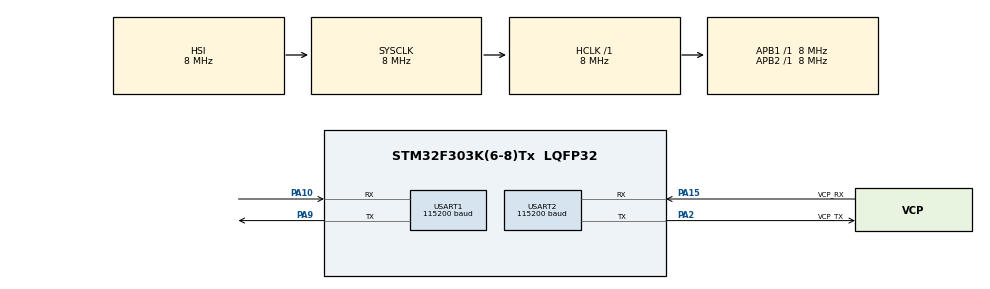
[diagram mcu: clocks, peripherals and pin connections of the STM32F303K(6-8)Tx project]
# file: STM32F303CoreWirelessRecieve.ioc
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Mcu.Family=STM32F3
RCC.CortexFreq_Value=8000000
PA10.Mode=Asynchronous
PF0\ /\ OSC_IN.Mode=HSE-External-Clock-Source
USART1.BaudRate=115200
PA14.GPIO_Label=SWCLK
USART2.BaudRate=115200
ProjectManager.StackSize=0x400
USART1.VirtualMode-Asynchronous=VM_ASYNC
PA13.Signal=SYS_JTMS-SWDIO
PA15.GPIO_Label=VCP_RX
PA9.Mode=Asynchronous
ProjectManager.TargetToolchain=STM32CubeIDE
PA9.Signal=USART1_TX
RCC.AHBFreq_Value=8000000
RCC.HSE_VALUE=8000000
board=NUCLEO-F303K8
USART2.VirtualMode-Asynchronous=VM_ASYNC
PA15.Mode=Asynchronous
RCC.APB2Freq_Value=8000000
PF0\ /\ OSC_IN.Signal=RCC_OSC_IN
USART1.Mode=MODE_TX_RX
PA14.Mode=Serial_Wire
PF0\ /\ OSC_IN.GPIO_Label=MCO
PA13.Mode=Serial_Wire
Mcu.Name=STM32F303K(6-8)Tx
PA13.GPIO_Label=SWDIO
PA2.Signal=USART2_TX
RCC.SYSCLKFreq_VALUE=8000000
Mcu.Package=LQFP32
PA2.GPIO_Label=VCP_TX
PA10.Signal=USART1_RX
PA14.Signal=SYS_JTCK-SWCLK
PA15.Signal=USART2_RX
ProjectManager.HeapSize=0x200
RCC.HSI_VALUE=8000000
NVIC.PriorityGroup=NVIC_PRIORITYGROUP_4
PA2.Mode=Asynchronous
NVIC.USART1_IRQn=true\:0\:0\:false\:false\:true\:true\:true
RCC.APB1Freq_Value=8000000

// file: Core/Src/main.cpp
/* USER CODE BEGIN Header */
/**
  ******************************************************************************
  * @file           : main.c
  * @brief          : Main program body
  ******************************************************************************
  * @attention
  *
  * <h2><center>&copy; Copyright (c) 2024 STMicroelectronics.
  * All rights reserved.</center></h2>
  *
  * This software component is licensed by ST under BSD 3-Clause license,
  * the "License"; You may not use this file except in compliance with the
  * License. You may obtain a copy of the License at:
  *                        opensource.org/licenses/BSD-3-Clause
  *
  ******************************************************************************
  */
/* USER CODE END Header */
#include "main.h"

/* USER CODE BEGIN Includes */
#include "usart.hpp"
#include "core_wireless_control_rx.hpp"
#include "xprintf.h"
/* USER CODE END Includes */

UART_HandleTypeDef huart1;
UART_HandleTypeDef huart2;

void SystemClock_Config(void);
static void MX_GPIO_Init(void);
static void MX_USART2_UART_Init(void);
static void MX_USART1_UART_Init(void);

/* USER CODE BEGIN 0 */
uint8_t rxed_byte_data;
UsartBuffer ub;

void uart_putc(uint8_t c){
	char buf[1];
	buf[0] = c;
    HAL_UART_Transmit(&huart2, (uint8_t *)buf, sizeof(buf), 0xFFFF);
}
/* USER CODE END 0 */

int main(void)
{

  /* MCU Configuration--------------------------------------------------------*/

  /* Reset of all peripherals, Initializes the Flash interface and the Systick. */
  HAL_Init();

  /* Configure the system clock */
  SystemClock_Config();

  /* Initialize all configured peripherals */
  MX_GPIO_Init();
  MX_USART2_UART_Init();
  MX_USART1_UART_Init();

  /* Infinite loop */
  /* USER CODE BEGIN WHILE */
  xdev_out(uart_putc);
  CoreWirelessControlRx cwcr(&ub);
  HAL_UART_Receive_IT(&huart1, &rxed_byte_data, 1);
  uint32_t  last_processed_time = HAL_GetTick();
  while (1)
  {
	  if(cwcr.parse() == true){
		  const uint8_t tx_fail[] = "!--\r\n";
		  HAL_UART_Transmit(&huart2, tx_fail, sizeof(tx_fail), 10);
		  xprintf("%d, %d, %d, %d, %d\r\n", cwcr.axis(0), cwcr.axis(1), cwcr.axis(2), cwcr.axis(3), cwcr.axis(4));
		  xprintf("%d, %d, %d, %d\r\n", cwcr.button(0), cwcr.button(1), cwcr.button(2), cwcr.button(3));
		  xprintf("%d, %d, %d, %d\r\n", cwcr.button(4), cwcr.button(5), cwcr.button(6), cwcr.button(7));
		  xprintf("%d, %d, %d, %d\r\n", cwcr.button(8), cwcr.button(9), cwcr.button(10), cwcr.button(11));
		  xprintf("%d, %d, %d, %d\r\n", cwcr.button(12), cwcr.button(13), cwcr.button(14), cwcr.button(15));
	  }

	  if(HAL_GetTick() - last_processed_time > 500){
//		  const uint8_t tx_data[] = "00,0401,CD:01,90,7F,91,89,00,00,00\r\n";
//		  HAL_UART_Transmit(&huart1, tx_data, sizeof(tx_data), 10);
		  last_processed_time = HAL_GetTick();
	  }
    /* USER CODE END WHILE */

  }
}

void SystemClock_Config(void)
{
  RCC_OscInitTypeDef RCC_OscInitStruct = {0};
  RCC_ClkInitTypeDef RCC_ClkInitStruct = {0};
  RCC_PeriphCLKInitTypeDef PeriphClkInit = {0};

  /** Initializes the RCC Oscillators according to the specified parameters
  * in the RCC_OscInitTypeDef structure.
  */
  RCC_OscInitStruct.OscillatorType = RCC_OSCILLATORTYPE_HSI;
  RCC_OscInitStruct.HSIState = RCC_HSI_ON;
  RCC_OscInitStruct.HSICalibrationValue = RCC_HSICALIBRATION_DEFAULT;
  RCC_OscInitStruct.PLL.PLLState = RCC_PLL_NONE;
  if (HAL_RCC_OscConfig(&RCC_OscInitStruct) != HAL_OK)
  {
    Error_Handler();
  }
  /** Initializes the CPU, AHB and APB buses clocks
  */
  RCC_ClkInitStruct.ClockType = RCC_CLOCKTYPE_HCLK|RCC_CLOCKTYPE_SYSCLK
                              |RCC_CLOCKTYPE_PCLK1|RCC_CLOCKTYPE_PCLK2;
  RCC_ClkInitStruct.SYSCLKSource = RCC_SYSCLKSOURCE_HSI;
  RCC_ClkInitStruct.AHBCLKDivider = RCC_SYSCLK_DIV1;
  RCC_ClkInitStruct.APB1CLKDivider = RCC_HCLK_DIV1;
  RCC_ClkInitStruct.APB2CLKDivider = RCC_HCLK_DIV1;

  if (HAL_RCC_ClockConfig(&RCC_ClkInitStruct, FLASH_LATENCY_0) != HAL_OK)
  {
    Error_Handler();
  }
  PeriphClkInit.PeriphClockSelection = RCC_PERIPHCLK_USART1;
  PeriphClkInit.Usart1ClockSelection = RCC_USART1CLKSOURCE_PCLK1;
  if (HAL_RCCEx_PeriphCLKConfig(&PeriphClkInit) != HAL_OK)
  {
    Error_Handler();
  }
}

static void MX_USART1_UART_Init(void)
{

  huart1.Instance = USART1;
  huart1.Init.BaudRate = 115200;
  huart1.Init.WordLength = UART_WORDLENGTH_8B;
  huart1.Init.StopBits = UART_STOPBITS_1;
  huart1.Init.Parity = UART_PARITY_NONE;
  huart1.Init.Mode = UART_MODE_TX_RX;
  huart1.Init.HwFlowCtl = UART_HWCONTROL_NONE;
  huart1.Init.OverSampling = UART_OVERSAMPLING_16;
  huart1.Init.OneBitSampling = UART_ONE_BIT_SAMPLE_DISABLE;
  huart1.AdvancedInit.AdvFeatureInit = UART_ADVFEATURE_NO_INIT;
  if (HAL_UART_Init(&huart1) != HAL_OK)
  {
    Error_Handler();
  }

}

static void MX_USART2_UART_Init(void)
{

  huart2.Instance = USART2;
  huart2.Init.BaudRate = 115200;
  huart2.Init.WordLength = UART_WORDLENGTH_8B;
  huart2.Init.StopBits = UART_STOPBITS_1;
  huart2.Init.Parity = UART_PARITY_NONE;
  huart2.Init.Mode = UART_MODE_TX_RX;
  huart2.Init.HwFlowCtl = UART_HWCONTROL_NONE;
  huart2.Init.OverSampling = UART_OVERSAMPLING_16;
  huart2.Init.OneBitSampling = UART_ONE_BIT_SAMPLE_DISABLE;
  huart2.AdvancedInit.AdvFeatureInit = UART_ADVFEATURE_NO_INIT;
  if (HAL_UART_Init(&huart2) != HAL_OK)
  {
    Error_Handler();
  }

}

static void MX_GPIO_Init(void)
{

  /* GPIO Ports Clock Enable */
  __HAL_RCC_GPIOF_CLK_ENABLE();
  __HAL_RCC_GPIOA_CLK_ENABLE();

}

/* USER CODE BEGIN 4 */
void HAL_UART_RxCpltCallback(UART_HandleTypeDef *huart)
{
  if (huart->Instance == USART1)
  {
	  bool res = ub.enqueue(rxed_byte_data);
	  if(!res){
		  const uint8_t tx_fail[] = "Failed to enqueue\r\n";
		  HAL_UART_Transmit(&huart2, tx_fail, sizeof(tx_fail), 10);
	  }

	  HAL_UART_Receive_IT(&huart1, &rxed_byte_data, 1);
  }
}
/* USER CODE END 4 */

void Error_Handler(void)
{
  __disable_irq();
  while (1)
  {
  }
}

/************************ (C) COPYRIGHT STMicroelectronics *****END OF FILE****/
